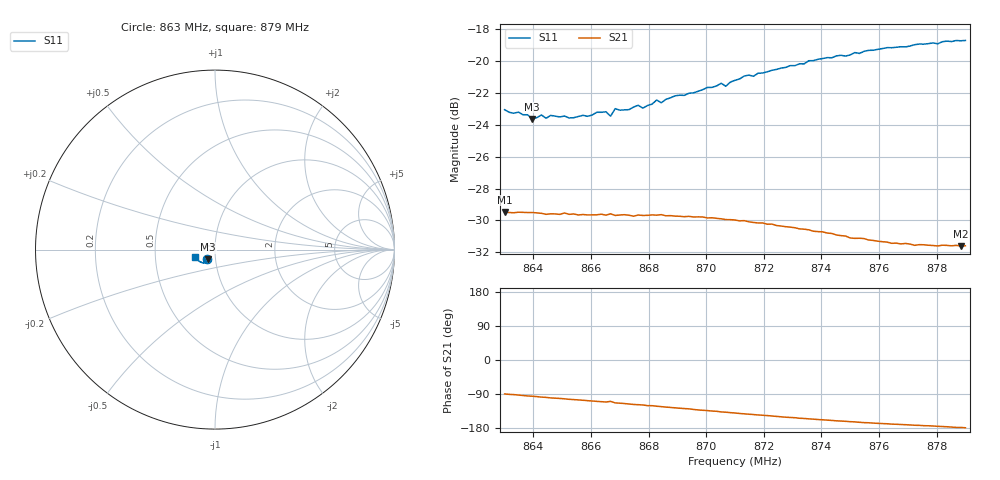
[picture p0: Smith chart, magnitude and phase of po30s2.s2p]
# HZ S RI R 50
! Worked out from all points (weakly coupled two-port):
!   101 points, 863 MHz to 879 MHz, reference 50 ohm
!   highest |S21| = -29.47 dB at 863 MHz (marker M1); lowest = -31.6 dB at 878.84 MHz (marker M2)
!   lowest |S11| = -23.6 dB at 863.96 MHz (marker M3), VSWR 1.14, Z = 46 - j4.91 ohm
!   |S11| at or under -10 dB: start of sweep to end of sweep
!   S12 and S22 are empty: the file has one direction only
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8.63e8  -0.0454 -0.0539  0.000304 -0.0336  0 0  0 0
8.638e8  -0.0412 -0.0539  -0.00285 -0.0334  0 0  0 0
8.6396e8  -0.0388 -0.0532  -0.00325 -0.0333  0 0  0 0
8.6428e8  -0.0384 -0.0559  -0.0046 -0.033  0 0  0 0
8.6444e8  -0.0384 -0.0539  -0.00495 -0.0327  0 0  0 0
8.646e8  -0.0381 -0.0558  -0.00581 -0.0327  0 0  0 0
8.6572e8  -0.0355 -0.0576  -0.00924 -0.0317  0 0  0 0
8.6652e8  -0.0346 -0.0601  -0.0117 -0.0307  0 0  0 0
8.6668e8  -0.031 -0.0596  -0.0109 -0.0314  0 0  0 0
8.6684e8  -0.0362 -0.061  -0.0129 -0.0301  0 0  0 0
8.6732e8  -0.0352 -0.061  -0.0145 -0.0295  0 0  0 0
8.6764e8  -0.0364 -0.0629  -0.0154 -0.0291  0 0  0 0
8.678e8  -0.0355 -0.0617  -0.0157 -0.0288  0 0  0 0
8.6828e8  -0.0375 -0.0655  -0.0174 -0.0279  0 0  0 0
8.6844e8  -0.0367 -0.0643  -0.018 -0.0276  0 0  0 0
8.7052e8  -0.0459 -0.0718  -0.0234 -0.0218  0 0  0 0
8.7068e8  -0.0444 -0.0706  -0.0236 -0.0214  0 0  0 0
8.71e8  -0.0475 -0.073  -0.0243 -0.0205  0 0  0 0
8.7372e8  -0.0679 -0.0739  -0.0267 -0.0119  0 0  0 0
8.7644e8  -0.0917 -0.0612  -0.0263 -0.00502  0 0  0 0
8.7884e8  -0.1085 -0.0406  -0.0262 -0.000974  0 0  0 0
8.79e8  -0.1094 -0.0389  -0.0263 -0.000529  0 0  0 0
